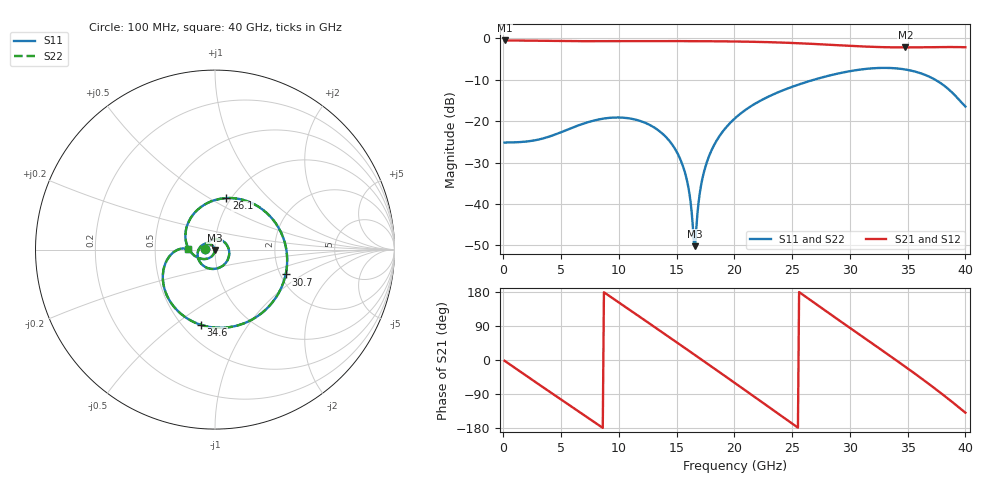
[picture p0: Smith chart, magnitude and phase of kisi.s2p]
! C_s8_ap1200: L1→L8, antipad Ø1.2 on every plane
! stackup: 8-layer 1.6 mm FR-4 (generic)
! ports: 1, 2
! kisi-fdtd, conformal, dfine 0.035 mm, 637065 cells
# Hz S RI R 50
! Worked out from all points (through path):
!   400 points, 100 MHz to 40 GHz, reference 50 ohm
!   highest |S21| = -0.47 dB at 100 MHz (marker M1); lowest = -2.2 dB at 34.8 GHz (marker M2)
!   group delay of S21, straight-line fit = 59.3 ps
!   lowest |S11| = -50.2 dB at 16.6 GHz (marker M3), VSWR 1.01, Z = 49.7 - j0.152 ohm
!   |S11| at or under -10 dB: start of sweep to 26.85 GHz; 37.4 GHz to end of sweep
!   |S22| runs from -50.2 to -7.1 dB; largest |S21 - S12| = 2.2e-07
!   S11 on the Smith chart (normalised r, x): 100 MHz: 0.90, +0.01; 26.1 GHz: 0.95, +0.60; 30.7 GHz: 2.13, -0.72; 34.6 GHz: 0.61, -0.62; 40 GHz: 0.74, +0.00
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1e8  -0.0552 0.00313  0.9462 -0.0349  0.9462 -0.0349  -0.0552 0.00313
3.6e9  0.033 0.0535  0.2341 -0.9059  0.2341 -0.9059  0.033 0.0535
6.8e9  0.0674 -0.0629  -0.7292 -0.5741  -0.7292 -0.5741  0.0674 -0.0629
9.8e9  -0.0533 -0.0973  -0.8477 0.3797  -0.8477 0.3797  -0.0533 -0.0973
1.17e10  -0.0966 -0.0331  -0.4095 0.8349  -0.4095 0.8349  -0.0966 -0.0331
1.34e10  -0.0745 0.0226  0.155 0.9173  0.155 0.9173  -0.0745 0.0226
1.56e10  -0.0142 0.0231  0.7708 0.5193  0.7708 0.5193  -0.0142 0.0231
1.61e10  -0.00618 0.0119  0.8527 0.3686  0.8527 0.3686  -0.00618 0.0119
1.66e10  -0.00268 -0.00153  0.9054 0.2052  0.9054 0.2052  -0.00268 -0.00153
1.69e10  -0.00298 -0.0101  0.9222 0.1034  0.9222 0.1034  -0.00298 -0.0101
1.75e10  -0.0092 -0.027  0.9214 -0.1028  0.9214 -0.1028  -0.0092 -0.027
2.01e10  -0.1019 -0.0417  0.4325 -0.812  0.4325 -0.812  -0.1019 -0.0417
2.27e10  -0.1635 0.0983  -0.4249 -0.7992  -0.4249 -0.7992  -0.1635 0.0983
2.61e10  0.0629 0.287  -0.8521 0.1744  -0.8521 0.1744  0.0629 0.287
2.67e10  0.132 0.2826  -0.784 0.3577  -0.784 0.3577  0.132 0.2826
2.88e10  0.3486 0.1311  -0.289 0.7801  -0.289 0.7801  0.3486 0.1311
3.07e10  0.3937 -0.1386  0.2783 0.7566  0.2783 0.7566  0.3937 -0.1386
3.34e10  0.1069 -0.4273  0.7647 0.1676  0.7647 0.1676  0.1069 -0.4273
3.46e10  -0.0802 -0.4185  0.7583 -0.182  0.7583 -0.182  -0.0802 -0.4185
3.48e10  -0.109 -0.4076  0.7423 -0.239  0.7423 -0.239  -0.109 -0.4076
3.76e10  -0.2856 -0.106  0.1255 -0.7767  0.1255 -0.7767  -0.2856 -0.106
4e10  -0.1505 0.000604  -0.5919 -0.5139  -0.5919 -0.5139  -0.1505 0.000604
